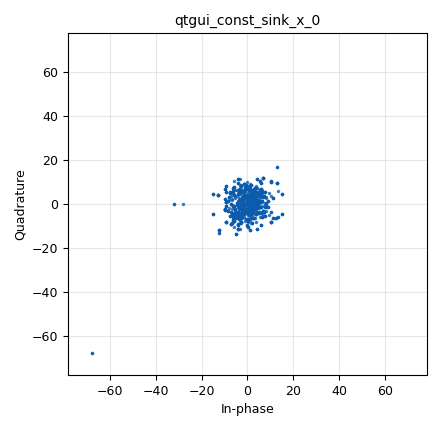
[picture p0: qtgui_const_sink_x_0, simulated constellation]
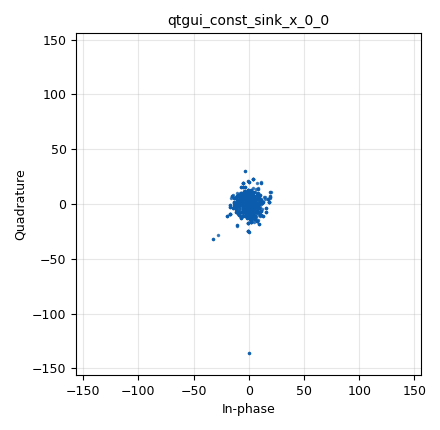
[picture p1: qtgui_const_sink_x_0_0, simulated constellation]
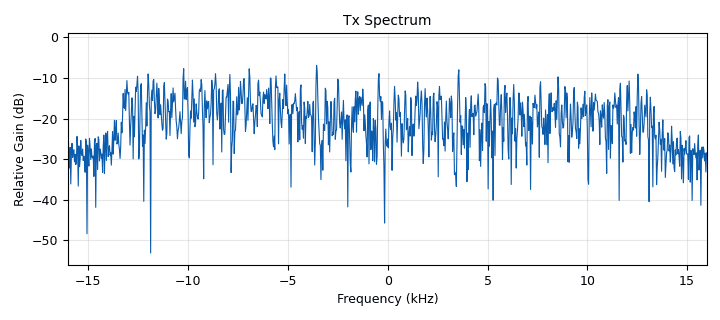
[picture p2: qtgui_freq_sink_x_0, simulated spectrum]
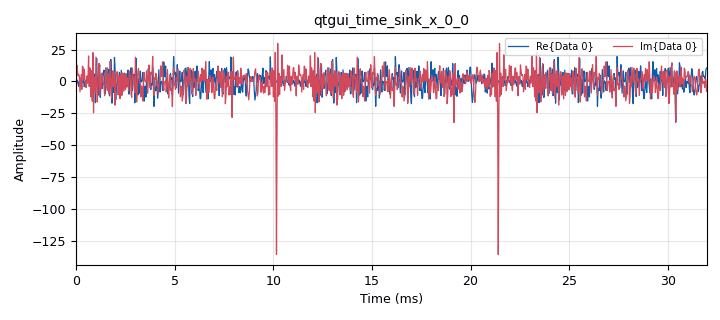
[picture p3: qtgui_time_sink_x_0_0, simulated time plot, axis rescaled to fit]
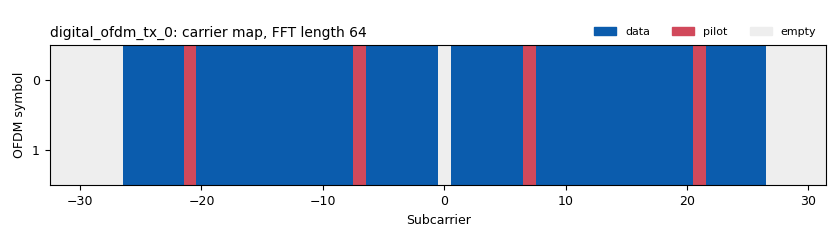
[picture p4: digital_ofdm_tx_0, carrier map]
options:
  parameters:
    generate_options: qt_gui
    id: First_GNU_File
    output_language: python
    title: First_GNU_File
  states: {}

blocks:
- name: fft_len
  id: variable
  parameters:
    value: '64'
  states: {}
- name: len_tag_key
  id: variable
  parameters:
    value: '50'
  states: {}
- name: occupied_carriers
  id: variable
  parameters:
    value: (list(range(-26, -21)) + list(range(-20, -7)) + list(range(-6, 0)) + list(range(1, 7)) + list(range(8, 21)) + list(range(22, 27)),)
  states: {}
- name: packet_len
  id: variable
  parameters:
    value: '14'
  states: {}
- name: pilot_carriers
  id: variable
  parameters:
    value: ((-21, -7, 7, 21,),)
  states: {}
- name: pilot_symbols
  id: variable
  parameters:
    value: ((1, -1, 1, -1,),)
  states: {}
- name: samp_rate
  id: variable
  parameters:
    value: '32000'
  states: {}
- name: blocks_stream_to_tagged_stream_0
  id: blocks_stream_to_tagged_stream
  parameters:
    len_tag_key: '"len_tag_key"'
    packet_len: '12'
    type: byte
  states: {}
- name: blocks_throttle_0
  id: blocks_throttle
  parameters:
    samples_per_second: samp_rate
    type: byte
  states: {}
- name: blocks_vector_sink_x_0
  id: blocks_vector_sink_x
  parameters:
    type: byte
  states: {}
- name: blocks_vector_source_x_0
  id: blocks_vector_source_x
  parameters:
    repeat: 'True'
    type: byte
    vector: (0, 0, 0)
  states: {}
- name: channels_channel_model_0
  id: channels_channel_model
  parameters:
    epsilon: '1.0'
    freq_offset: '0.0'
    noise_voltage: '0.1'
    seed: '0'
    taps: 1.0 + 1.0j
  states: {}
- name: digital_ofdm_rx_0
  id: digital_ofdm_rx
  parameters:
    cp_len: fft_len//8
    fft_len: fft_len
    header_mod: '"BPSK"'
    occupied_carriers: occupied_carriers
    packet_len_key: '"packet_len"'
    payload_mod: '"QPSK"'
    pilot_carriers: pilot_carriers
    pilot_symbols: pilot_symbols
    sync_word1: None
    sync_word2: None
  states: {}
- name: digital_ofdm_tx_0
  id: digital_ofdm_tx
  parameters:
    cp_len: fft_len//8
    fft_len: fft_len
    header_mod: '"BPSK"'
    occupied_carriers: occupied_carriers
    packet_len_key: '"len_tag_key"'
    payload_mod: '"QPSK"'
    pilot_carriers: pilot_carriers
    pilot_symbols: pilot_symbols
    rolloff: '0'
    sync_word1: ''
    sync_word2: ''
  states: {}
- name: qtgui_const_sink_x_0
  id: qtgui_const_sink_x
  parameters:
    autoscale: 'True'
    size: '1024'
    type: complex
  states: {}
- name: qtgui_const_sink_x_0_0
  id: qtgui_const_sink_x
  parameters:
    autoscale: 'True'
    size: '1024'
    type: complex
  states: {}
- name: qtgui_freq_sink_x_0
  id: qtgui_freq_sink_x
  parameters:
    autoscale: 'True'
    bw: samp_rate
    fc: '0'
    fftsize: '1024'
    name: '"Tx Spectrum"'
    type: complex
  states: {}
- name: qtgui_time_sink_x_0_0
  id: qtgui_time_sink_x
  parameters:
    size: '1024'
    srate: samp_rate
    type: complex
  states: {}

connections:
- [blocks_stream_to_tagged_stream_0, '0', digital_ofdm_tx_0, '0']
- [blocks_throttle_0, '0', blocks_stream_to_tagged_stream_0, '0']
- [blocks_vector_source_x_0, '0', blocks_throttle_0, '0']
- [channels_channel_model_0, '0', digital_ofdm_rx_0, '0']
- [channels_channel_model_0, '0', qtgui_const_sink_x_0_0, '0']
- [channels_channel_model_0, '0', qtgui_time_sink_x_0_0, '0']
- [digital_ofdm_rx_0, '0', blocks_vector_sink_x_0, '0']
- [digital_ofdm_tx_0, '0', channels_channel_model_0, '0']
- [digital_ofdm_tx_0, '0', qtgui_const_sink_x_0, '0']
- [digital_ofdm_tx_0, '0', qtgui_freq_sink_x_0, '0']

metadata:
  file_format: 1
  grc_version: 3.10.4.0
